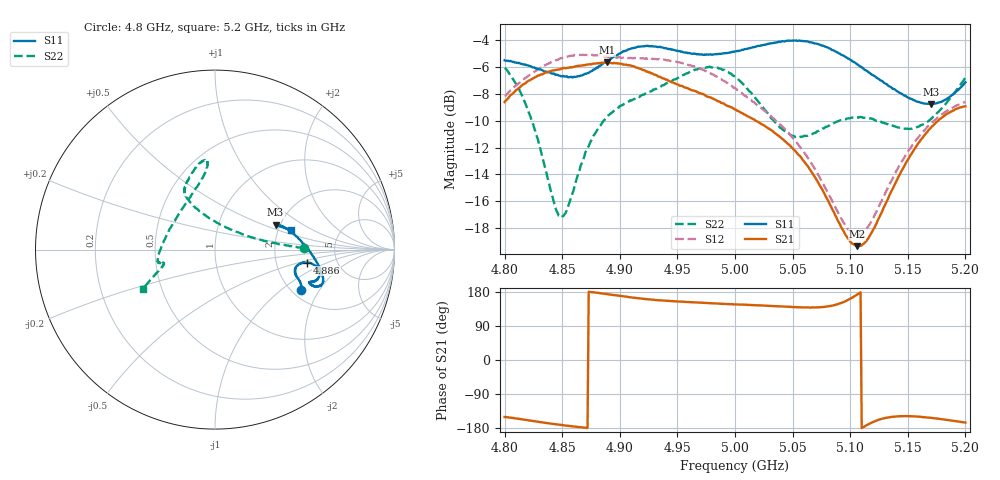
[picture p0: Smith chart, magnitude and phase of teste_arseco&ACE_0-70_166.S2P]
! Network Analyzer HP8722D
! Hewlett-Packard
! Data name: Linha & Wilkinson
! Saver's name: Rodrigo Anjos
! Comments: Teste da utilização de aquisição
! continua pelo VNA HP8722D
! Time and date: 8/5/2025 14:08
!  Frequency  S11  S21  S12  S22
# HZ  S  MA R 50
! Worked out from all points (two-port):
!   401 points, 4.8 GHz to 5.2 GHz, reference 50 ohm
!   highest |S21| = -5.67 dB at 4.889 GHz (marker M1); lowest = -19.3 dB at 5.106 GHz (marker M2)
!   |S21| within 3 dB of the highest: start of sweep to 4.988 GHz
!   lowest |S11| = -8.8 dB at 5.17 GHz (marker M3), VSWR 2.15, Z = 94.5 + j30.4 ohm
!   |S11| at or under -10 dB: nowhere
!   |S22| runs from -17.2 to -6.0 dB; largest |S21 - S12| = 1.1
!   S11 on the Smith chart (normalised r, x): 4.8 GHz: 2.24, -1.40; 4.886 GHz: 3.02, -0.59; 5.2 GHz: 2.35, +0.65
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4.8e9  0.5305 -25.0  0.3711 -150.4  0.3908 8.9  0.4967 0.9
4.811e9  0.5183 -22.5  0.4138 -154.7  0.4316 7.5  0.4245 2.7
4.821e9  0.5064 -20.5  0.4457 -159.5  0.4657 5.9  0.3392 6.1
4.847e9  0.4654 -16.3  0.4905 -170.6  0.5358 1.7  0.14 54.7
4.853e9  0.4615 -14.9  0.4956 -172.9  0.5443 0.8  0.1435 79.1
4.867e9  0.4658 -10.9  0.5078 -177.8  0.5552 -1.2  0.2197 110.1
4.886e9  0.5183 -8.0  0.5187 175.3  0.549 -2.5  0.3164 118.1
4.889e9  0.5278 -7.9  0.5207 174.0  0.549 -2.4  0.327 118.7
4.91e9  0.5875 -10.7  0.5066 165.5  0.5411 -1.9  0.3759 116.7
4.934e9  0.5945 -16.1  0.4611 157.6  0.5361 -2.7  0.4201 110.6
4.973e9  0.5555 -19.1  0.3958 150.6  0.4871 -6.2  0.4994 97.9
5e9  0.5722 -20.0  0.3484 146.7  0.4191 -6.2  0.4591 95.6
5.017e9  0.5945 -20.1  0.3187 144.7  0.3689 -3.9  0.3868 102.0
5.044e9  0.6261 -18.1  0.264 140.7  0.2916 2.0  0.2865 131.9
5.067e9  0.6167 -13.7  0.2024 138.8  0.2173 8.9  0.2818 164.9
5.096e9  0.5459 -3.7  0.1187 155.3  0.1287 36.0  0.3197 -171.9
5.106e9  0.5128 1.1  0.1079 172.6  0.1186 55.4  0.3256 -168.4
5.116e9  0.4788 6.2  0.1159 -169.4  0.1284 74.8  0.3224 -166.9
5.134e9  0.4245 14.6  0.1666 -151.0  0.1824 94.5  0.3051 -165.9
5.153e9  0.3811 21.1  0.2375 -148.3  0.2529 100.3  0.2953 -164.2
5.17e9  0.3648 22.4  0.2976 -152.6  0.3087 101.0  0.3204 -160.7
5.2e9  0.4391 14.6  0.3577 -165.1  0.3719 101.5  0.4557 -151.5
